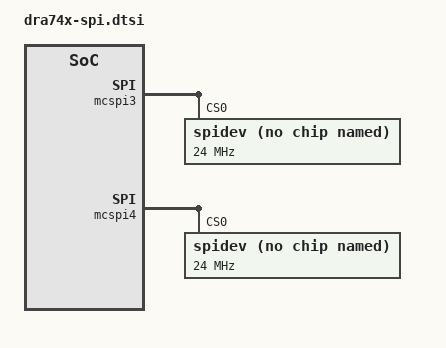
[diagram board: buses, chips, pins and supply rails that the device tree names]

&dra7_pmx_core {

	mcspi3_pins: mcspi3_pins {

	             pinctrl-single,pins = <
			       /* #define DRA7XX_CORE_IOPAD(pa, val)	(((pa) & 0xffff) - 0x3400) (val) */
			       DRA7XX_CORE_IOPAD(0x36D4, PIN_INPUT_PULLUP  | MUX_MODE3) /* sck */
                               DRA7XX_CORE_IOPAD(0x36D8, PIN_INPUT_PULLUP | MUX_MODE3) /* d1  */
                               DRA7XX_CORE_IOPAD(0x36DC, PIN_OUTPUT_PULLUP | MUX_MODE3) /* d0  */
                               DRA7XX_CORE_IOPAD(0x36E0, PIN_OUTPUT_PULLUP | MUX_MODE3) /* cs0 */
	             >;
	};

	mcspi4_pins: mcspi4_pins {

	             pinctrl-single,pins = <
			       /* #define DRA7XX_CORE_IOPAD(pa, val)	(((pa) & 0xffff) - 0x3400) (val) */
			       DRA7XX_CORE_IOPAD(0x3744, PIN_INPUT_PULLUP  | MUX_MODE2)	/* sck */
                               DRA7XX_CORE_IOPAD(0x3748, PIN_INPUT_PULLUP  | MUX_MODE2) /* d1  */
                               DRA7XX_CORE_IOPAD(0x374C, PIN_OUTPUT_PULLUP | MUX_MODE2) /* d0  */
                               DRA7XX_CORE_IOPAD(0x3750, PIN_OUTPUT_PULLUP | MUX_MODE2) /* cs0 */
	             >;
	};
};

&mcspi3 { 
       status = "okay";
       pinctrl-names = "default";
       pinctrl-0 = <&mcspi3_pins>; 
       /* ti,pindir-d0-out-d1-in = <1>; */
       spidev@3 { 
              spi-max-frequency = <24000000>;
              reg = <0>; 
              compatible = "rohm,dh2228fv";
       };
};

&mcspi4 { 
       status = "okay";
       pinctrl-names = "default";
       pinctrl-0 = <&mcspi4_pins>; 
       /* ti,pindir-d0-out-d1-in = <1>; */
       spidev@4 { 
              spi-max-frequency = <24000000>;
              reg = <0>; 
              compatible = "rohm,dh2228fv";
       };
};
